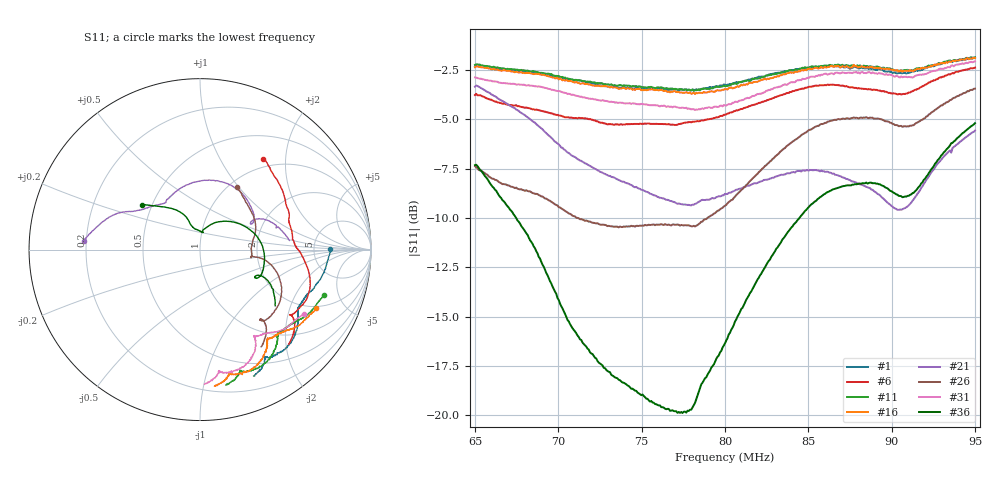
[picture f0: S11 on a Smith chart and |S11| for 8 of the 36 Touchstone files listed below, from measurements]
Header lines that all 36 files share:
! NanoVNA-App
! Start: 65MHz Stop: 95MHz Points: 401
! S-Parameter data: F S11
# Hz S RI R 50
!  Frequency  S11_Real  S11_Imag
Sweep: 65 MHz to 95 MHz
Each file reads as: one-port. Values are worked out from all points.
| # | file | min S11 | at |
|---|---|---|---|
| 1 | SD68_195_60.s1p | -3.5 dB | 77.97 MHz |
| 2 | SD68_195_70.s1p | -3.4 dB | 77.22 MHz |
| 3 | SD68_195_90.s1p | -3.7 dB | 77.15 MHz |
| 4 | SD68_195_110.s1p | -4.1 dB | 76.92 MHz |
| 5 | SD68_195_130.s1p | -4.6 dB | 77 MHz |
| 6 | SD68_195_150.s1p | -5.3 dB | 77.08 MHz |
| 7 | SD68_195_170.s1p | -6.2 dB | 76.92 MHz |
| 8 | SD68_195_190.s1p | -6.9 dB | 77 MHz |
| 9 | SD68_195_210.s1p | -6.5 dB | 90.35 MHz |
| 10 | SD68_195_230.s1p | -3.5 dB | 90.35 MHz |
| 11 | SD68_240_10.s1p | -3.6 dB | 78.12 MHz |
| 12 | SD68_240_60.s1p | -4.2 dB | 78.12 MHz |
| 13 | SD68_240_120.s1p | -6.5 dB | 75.88 MHz |
| 14 | SD68_240_150.s1p | -9.7 dB | 75.28 MHz |
| 15 | SD68_240_160.s1p | -9.4 dB | 77.75 MHz |
| 16 | SD68_270_0.s1p | -3.7 dB | 78.2 MHz |
| 17 | SD68_270_40.s1p | -4.4 dB | 78.2 MHz |
| 18 | SD68_270_80.s1p | -5.6 dB | 77.53 MHz |
| 19 | SD68_270_120.s1p | -10.7 dB | 75.28 MHz |
| 20 | SD68_270_130.s1p | -12.2 dB | 77.75 MHz |
| 21 | SD68_270_140.s1p | -9.6 dB | 90.42 MHz |
| 22 | SD68_300_0.s1p | -4.0 dB | 78.2 MHz |
| 23 | SD68_300_30.s1p | -4.7 dB | 78.05 MHz |
| 24 | SD68_300_60.s1p | -6.1 dB | 78.28 MHz |
| 25 | SD68_300_80.s1p | -8.4 dB | 78.28 MHz |
| 26 | SD68_300_90.s1p | -10.5 dB | 73.62 MHz |
| 27 | SD68_300_100.s1p | -14.2 dB | 76.33 MHz |
| 28 | SD68_300_110.s1p | -14.1 dB | 77.67 MHz |
| 29 | SD68_300_120.s1p | -11.4 dB | 90.35 MHz |
| 30 | SD68_310_100.s1p | -14.3 dB | 76.85 MHz |
| 31 | SD68_330_0.s1p | -4.5 dB | 78.2 MHz |
| 32 | SD68_330_20.s1p | -5.3 dB | 78.35 MHz |
| 33 | SD68_330_40.s1p | -6.6 dB | 78.28 MHz |
| 34 | SD68_330_60.s1p | -9.8 dB | 78.2 MHz |
| 35 | SD68_330_70.s1p | -14.3 dB | 73.4 MHz |
| 36 | SD68_330_80.s1p | -19.9 dB | 77.45 MHz |
